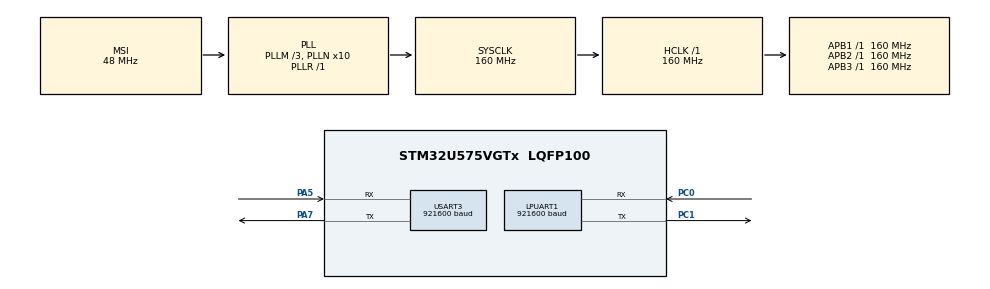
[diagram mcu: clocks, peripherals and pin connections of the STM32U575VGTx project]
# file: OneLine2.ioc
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CORTEX_M33_NS.userName=CORTEX_M33
GPDMA1.CIRCULARMODE_GPDMACH1=ENABLE
GPDMA1.CIRCULARMODE_GPDMACH3=DISABLE
GPDMA1.DESTINC_GPDMACH1=DMA_DINC_INCREMENTED
GPDMA1.DIRECTION_GPDMACH1=DMA_PERIPH_TO_MEMORY
GPDMA1.DIRECTION_GPDMACH3=DMA_MEMORY_TO_PERIPH
GPDMA1.IPHANDLE_GPDMACH1-SIMPLEREQUEST_GPDMACH1=__NULL
GPDMA1.IPHANDLE_GPDMACH3-SIMPLEREQUEST_GPDMACH3=__NULL
GPDMA1.PRIORITY_GPDMACH3=DMA_LOW_PRIORITY_MID_WEIGHT
GPDMA1.PRIORITY_LL_CIRCULAR_GPDMACH1=DMA_LOW_PRIORITY_HIGH_WEIGHT
GPDMA1.REQUEST_GPDMACH1=GPDMA1_REQUEST_USART3_RX
GPDMA1.REQUEST_GPDMACH3=GPDMA1_REQUEST_LPUART1_TX
GPDMA1.SRCINC_GPDMACH3=DMA_SINC_INCREMENTED
LPUART1.BaudRate=921600
Mcu.Family=STM32U5
Mcu.Name=STM32U575VGTx
Mcu.Package=LQFP100
NVIC.GPDMA1_Channel1_IRQn=true\:0\:0\:false\:false\:true\:false\:true\:true
NVIC.GPDMA1_Channel3_IRQn=true\:0\:0\:false\:false\:true\:false\:true\:true
NVIC.LPUART1_IRQn=true\:0\:0\:false\:false\:true\:true\:true\:true
NVIC.PriorityGroup=NVIC_PRIORITYGROUP_4
NVIC.USART3_IRQn=true\:0\:0\:false\:false\:true\:true\:true\:true
PA13\ (JTMS/SWDIO).Mode=Serial_Wire
PA13\ (JTMS/SWDIO).Signal=DEBUG_JTMS-SWDIO
PA14\ (JTCK/SWCLK).Mode=Serial_Wire
PA14\ (JTCK/SWCLK).Signal=DEBUG_JTCK-SWCLK
PA5.Mode=Asynchronous
PA5.Signal=USART3_RX
PA7.Mode=Asynchronous
PA7.Signal=USART3_TX
PC0.Mode=Asynchronous
PC0.Signal=LPUART1_RX
PC1.Mode=Asynchronous
PC1.Signal=LPUART1_TX
PC14-OSC32_IN\ (PC14).Mode=LSE-External-Oscillator
PC14-OSC32_IN\ (PC14).Signal=RCC_OSC32_IN
PC15-OSC32_OUT\ (PC15).Mode=LSE-External-Oscillator
PC15-OSC32_OUT\ (PC15).Signal=RCC_OSC32_OUT
PH0-OSC_IN\ (PH0).Mode=HSE-External-Oscillator
PH0-OSC_IN\ (PH0).Signal=RCC_OSC_IN
PH1-OSC_OUT\ (PH1).Mode=HSE-External-Oscillator
PH1-OSC_OUT\ (PH1).Signal=RCC_OSC_OUT
ProjectManager.HeapSize=0x200
ProjectManager.StackSize=0x400
ProjectManager.TargetToolchain=MDK-ARM V5.39
RCC.ADCFreq_Value=16000000
RCC.AHBFreq_Value=160000000
RCC.APB1Freq_Value=160000000
RCC.APB1TimFreq_Value=160000000
RCC.APB2Freq_Value=160000000
RCC.APB2TimFreq_Value=160000000
RCC.APB3Freq_Value=160000000
RCC.CortexFreq_Value=160000000
RCC.EPOD_VALUE=48000000
RCC.HCLKFreq_Value=160000000
RCC.HSE_VALUE=8000000
RCC.HSI48_VALUE=48000000
RCC.HSI_VALUE=16000000
RCC.LSIDIV_VALUE=32000
RCC.MSIClockRange=RCC_MSIRANGE_0
RCC.MSI_VALUE=48000000
RCC.PLL1R=1
RCC.PLL2Source=RCC_PLLSOURCE_HSE
RCC.PLL3Source=RCC_PLLSOURCE_HSE
RCC.PLLFRACN=0
RCC.PLLM=3
RCC.PLLN=10
RCC.SYSCLKFreq_VALUE=160000000
RCC.SYSCLKSource=RCC_SYSCLKSOURCE_PLLCLK
RCC.USBFreq_Value=48000000
RCC.VCOOutputFreq_Value=160000000
USART3.BaudRate=921600
USART3.FIFOMode=FIFOMODE_DISABLE
USART3.VirtualMode-Asynchronous=VM_ASYNC
VP_GPDMA1_VS_GPDMACH1.Mode=SIMPLEREQUEST_GPDMACH1
VP_GPDMA1_VS_GPDMACH3.Mode=SIMPLEREQUEST_GPDMACH3
VP_LPBAMQUEUE_VS_QUEUE.Mode=QUEUEMODE
VP_LPBAM_VS_SIG1.Mode=SmartRun
VP_LPBAM_VS_SIG4.Mode=LPDMA1
VP_MEMORYMAP_VS_MEMORYMAP.Mode=CurAppReg
VP_PWR_VS_SECSignals.Mode=Security/Privilege
board=custom

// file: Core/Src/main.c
/* USER CODE BEGIN Header */
/**
  ******************************************************************************
  * @file           : main.c
  * @brief          : Main program body
  ******************************************************************************
  * @attention
  *
  * Copyright (c) 2026 STMicroelectronics.
  * All rights reserved.
  *
  * This software is licensed under terms that can be found in the LICENSE file
  * in the root directory of this software component.
  * If no LICENSE file comes with this software, it is provided AS-IS.
  *
  ******************************************************************************
  */
/* USER CODE END Header */
#include "main.h"
#include "gpdma.h"
#include "usart.h"
#include "gpio.h"

/* USER CODE BEGIN Includes */
#include <string.h>
/* USER CODE END Includes */

/* USER CODE BEGIN PD */
/* 1.1s 独立看门狗(直写寄存器,不依赖 HAL IWDG 驱动):收到数据喂狗;1.1s 无数据 -> 硬复位 MCU(=自动按RST)。 */
#define IWDG_REFRESH()  (IWDG->KR = 0x0000AAAAu)
/* USER CODE END PD */

/* USER CODE BEGIN PV */

/* Board 2 bridge (协议网关 / CRC 过滤): USART3_RX --(circular DMA: HT/TC/IDLE)--> 协议解析 --> 512KB
   ring queue --> LPUART1_TX(poll) -> PC. 经典 "DMA(半/全传输中断)+串口空闲中断+环形队列":
     - RX: USART3 用 circular DMA 连续接进 dma_rx_buf;ReceiveToIdle_DMA 正常运行不重装,UART 错误后由主
       循环重建。HAL 在 半满/满/空闲 回调 RxEventCallback(Size=当前写位置),回调把新到字节(环绕处理)
       喂给协议解析器(跨回调保存状态,一个回调 != 一帧)。RX 全程不在 ISR 里调任何 HAL DMA 函数。
     - 解析: 找 SOF 0xAA -> SRC(0x01/0x02) -> LEN(大端,1..1024) -> 收齐 PAYLOAD+CRC8,用与 board1
       完全一致的 CRC-8/ATM 校验。CRC 对 -> 把"完整原始帧"整帧压队列;CRC/SRC/LEN 错 -> 丢弃并重找 0xAA。
       复位噪声/无效数据形不成合法帧,到不了电脑。一帧要么整帧入队、要么整帧丢(无半包)。
     - TX: 主循环轮询 LPUART1 TXE,从队列取字节写 TDR(直写寄存器,无句柄,最稳)。 */
#define DMA_RX_SIZE   1024u          /* USART3 RX circular DMA 硬件缓冲 */
#define TX_QUEUE_SIZE (512u * 1024u) /* 应用环形队列 512KB,用于吸收瞬时突发 */
#define RX_REARM_RETRY_MS 10u        /* 失败后限速重试,避免主循环反复重配 DMA */

/* board1 协议帧: [0xAA][SRC][LEN_H][LEN_L][PAYLOAD...][CRC8]
   SRC: 0x01=LPUART1, 0x02=USART1; LEN 大端 = PAYLOAD 字节数(1..1024);
   CRC-8/ATM(poly 0x07, init 0) 覆盖 SRC、LEN_H、LEN_L 和全部 PAYLOAD。 */
#define FRAME_SOF          0xAAu
#define FRAME_SRC_LP       0x01u
#define FRAME_SRC_U1       0x02u
#define FRAME_HEADER_SIZE  4u                                          /* SOF + SRC + LEN_H + LEN_L */
#define FRAME_MIN_PAYLOAD  1u
#define FRAME_MAX_PAYLOAD  DMA_RX_SIZE                                 /* 1024 */
#define FRAME_MAX_SIZE     (FRAME_HEADER_SIZE + FRAME_MAX_PAYLOAD + 1u)/* +CRC = 1029 */

/* USART3 RX 循环 DMA 缓冲:DMA 硬件写,RxEventCallback 读。32 字节对齐(无害;以后若开 Cache 才有意义)。 */
#if defined(__ICCARM__) || defined(__CC_ARM) || defined(__GNUC__)
__attribute__((aligned(32))) static uint8_t dma_rx_buf[DMA_RX_SIZE];
#else
static uint8_t dma_rx_buf[DMA_RX_SIZE];
#endif
static volatile uint16_t rx_last_pos;          /* 上次已消费到的 dma_rx_buf 位置 */

/* 应用环形队列。生产者:RxEventCallback(ISR)。消费者:tx_kick(主循环)。 */
static uint8_t  txq[TX_QUEUE_SIZE];
static volatile uint32_t txq_head;
static volatile uint32_t txq_tail;
static volatile uint32_t txq_count;

static volatile uint32_t rx_bytes;
static volatile uint32_t tx_bytes;
static volatile uint32_t drop_cnt;
static volatile uint32_t err_cnt;
static volatile uint8_t  rearm_rx;
static volatile uint32_t rearm_rx_cnt;
static volatile uint32_t rearm_rx_fail_cnt;
static uint32_t rearm_rx_last_try;

/* 协议解析器状态(跨 DMA 回调保存)。生产者=RxEventCallback(ISR),单路 USART3,无并发。 */
static uint8_t  frame_buf[FRAME_MAX_SIZE];   /* 正在收集的候选帧(SOF..CRC) */
static uint16_t frame_pos;                   /* 已收集字节数 */
static uint16_t frame_payload_len;           /* 头部解析出的 LEN */
static uint16_t frame_total;                 /* 整帧字节数 = 头(4)+LEN+CRC(1) */
static volatile uint32_t frame_ok_cnt;       /* CRC 通过、已转发的帧数 */
static volatile uint32_t frame_crc_err_cnt;  /* CRC 错丢弃 */
static volatile uint32_t frame_fmt_err_cnt;  /* SRC/LEN/格式错丢弃 */
static volatile uint32_t frame_drop_cnt;     /* 合法帧但队列放不下而整帧丢弃 */
static volatile uint32_t noise_drop_bytes;   /* 帧外噪声字节(复位 0x00 等) */
static volatile uint32_t empty_idle_skip_cnt;    /* 启动/重启空 IDLE 跳过次数(调试) */
static volatile uint32_t parser_rearm_reset_cnt; /* 因 UART 错误恢复而重置解析器的次数(调试) */

/* usart.c 里的 DMA 句柄/节点/队列(在 main 里重配成 circular 并绑定缓冲) */
extern DMA_HandleTypeDef handle_GPDMA1_Channel1;
extern DMA_NodeTypeDef   Node_GPDMA1_Channel1;
extern DMA_QListTypeDef  List_GPDMA1_Channel1;

/* USER CODE END PV */

void SystemClock_Config(void);
/* USER CODE BEGIN PFP */
static HAL_StatusTypeDef rx_dma_circular_start(void);
static uint8_t txq_push(const uint8_t *data, uint16_t len);
static void tx_kick(void);
static uint8_t crc8_update(uint8_t crc, uint8_t value);
static void parser_reset(void);
static void parser_reject(uint8_t value);
static uint8_t parser_handle_byte(uint8_t value);
static void parser_resync(void);
static void parser_feed(const uint8_t *data, uint16_t len);
/* USER CODE END PFP */

int main(void)
{

  /* MCU Configuration--------------------------------------------------------*/

  /* Reset of all peripherals, Initializes the Flash interface and the Systick. */
  HAL_Init();

  /* Configure the system clock */
  SystemClock_Config();

  /* Initialize all configured peripherals */
  MX_GPIO_Init();
  MX_GPDMA1_Init();
  MX_LPUART1_UART_Init();
  MX_USART3_UART_Init();
  /* USER CODE BEGIN 2 */

  /* Board 2: USART3_RX (circular DMA, HT/TC/IDLE) -> 协议解析 -> 512KB queue -> LPUART1_TX (poll).
     Normal reception runs continuously; UART errors are recovered later from the main loop. */
  parser_reset();                         /* clean parser state before the first DMA start */
  if (rx_dma_circular_start() != HAL_OK)
  {
    Error_Handler();
  }

  /* 启动 1.1s 独立看门狗(IWDG):卡死/无流量 1.1s 即硬复位,等效自动按 RST(即便 CPU 卡死也能复位)。
     喂狗在 HAL_UARTEx_RxEventCallback 收到真实数据时进行。 */
  __HAL_DBGMCU_FREEZE_IWDG();           /* 调试 halt 时冻结看门狗 */
  IWDG->KR  = 0x0000CCCCu;              /* 启动 IWDG(自动开 LSI ~32kHz) */
  IWDG->KR  = 0x00005555u;              /* 解锁 PR/RLR */
  IWDG->PR  = 3u;                       /* /32 -> 1 kHz */
  IWDG->RLR = 1099u;                    /* (1099+1)/1000 = 1.1 s */
  while ((IWDG->SR & 0x07u) != 0u) { }  /* 等更新完成 */
  IWDG->KR  = 0x0000AAAAu;              /* 初次喂狗 */

  /* USER CODE END 2 */

  /* Infinite loop */
  while (1)
  {

    /* USER CODE BEGIN 3 */
    if ((rearm_rx != 0u) &&
        ((uint32_t)(HAL_GetTick() - rearm_rx_last_try) >= RX_REARM_RETRY_MS))
    {
      HAL_StatusTypeDef status;

      rearm_rx_last_try = HAL_GetTick();
      rearm_rx = 0u;
      rx_last_pos = 0u;
      parser_reset();                    /* a UART error may have hit mid-frame: drop the partial */
      parser_rearm_reset_cnt++;
      status = rx_dma_circular_start();
      if (status == HAL_OK)
      {
        rearm_rx_cnt++;
      }
      else
      {
        rearm_rx_fail_cnt++;
        rearm_rx = 1u;
      }
    }

    tx_kick();   /* RX is DMA + interrupt-driven; the loop only drains the queue to TX */
  }
  /* USER CODE END 3 */
}

void SystemClock_Config(void)
{
  RCC_OscInitTypeDef RCC_OscInitStruct = {0};
  RCC_ClkInitTypeDef RCC_ClkInitStruct = {0};

  /** Configure the main internal regulator output voltage
  */
  if (HAL_PWREx_ControlVoltageScaling(PWR_REGULATOR_VOLTAGE_SCALE1) != HAL_OK)
  {
    Error_Handler();
  }

  /** Initializes the CPU, AHB and APB buses clocks
  */
  RCC_OscInitStruct.OscillatorType = RCC_OSCILLATORTYPE_MSI;
  RCC_OscInitStruct.MSIState = RCC_MSI_ON;
  RCC_OscInitStruct.MSICalibrationValue = RCC_MSICALIBRATION_DEFAULT;
  RCC_OscInitStruct.MSIClockRange = RCC_MSIRANGE_0;
  RCC_OscInitStruct.PLL.PLLState = RCC_PLL_ON;
  RCC_OscInitStruct.PLL.PLLSource = RCC_PLLSOURCE_MSI;
  RCC_OscInitStruct.PLL.PLLMBOOST = RCC_PLLMBOOST_DIV4;
  RCC_OscInitStruct.PLL.PLLM = 3;
  RCC_OscInitStruct.PLL.PLLN = 10;
  RCC_OscInitStruct.PLL.PLLP = 2;
  RCC_OscInitStruct.PLL.PLLQ = 2;
  RCC_OscInitStruct.PLL.PLLR = 1;
  RCC_OscInitStruct.PLL.PLLRGE = RCC_PLLVCIRANGE_1;
  RCC_OscInitStruct.PLL.PLLFRACN = 0;
  if (HAL_RCC_OscConfig(&RCC_OscInitStruct) != HAL_OK)
  {
    Error_Handler();
  }

  /** Initializes the CPU, AHB and APB buses clocks
  */
  RCC_ClkInitStruct.ClockType = RCC_CLOCKTYPE_HCLK|RCC_CLOCKTYPE_SYSCLK
                              |RCC_CLOCKTYPE_PCLK1|RCC_CLOCKTYPE_PCLK2
                              |RCC_CLOCKTYPE_PCLK3;
  RCC_ClkInitStruct.SYSCLKSource = RCC_SYSCLKSOURCE_PLLCLK;
  RCC_ClkInitStruct.AHBCLKDivider = RCC_SYSCLK_DIV1;
  RCC_ClkInitStruct.APB1CLKDivider = RCC_HCLK_DIV1;
  RCC_ClkInitStruct.APB2CLKDivider = RCC_HCLK_DIV1;
  RCC_ClkInitStruct.APB3CLKDivider = RCC_HCLK_DIV1;

  if (HAL_RCC_ClockConfig(&RCC_ClkInitStruct, FLASH_LATENCY_4) != HAL_OK)
  {
    Error_Handler();
  }
}

/* USER CODE BEGIN 4 */

/* Configure USART3 RX as CIRCULAR DMA into dma_rx_buf and (re)start it. The linked-list node's
   DstAddress/DataSize are bound EXPLICITLY to dma_rx_buf so each wrap reloads the correct dest.
   Abort + DeInit + ResetQ first so this is safe both at boot and when re-arming after a UART error. */
static HAL_StatusTypeDef rx_dma_circular_start(void)
{
  DMA_NodeConfTypeDef nc = {0};

  if (HAL_UART_AbortReceive(&huart3) != HAL_OK) { return HAL_ERROR; }
  if (HAL_DMA_DeInit(&handle_GPDMA1_Channel1) != HAL_OK) { return HAL_ERROR; }
  if (HAL_DMAEx_List_ResetQ(&List_GPDMA1_Channel1) != HAL_OK) { return HAL_ERROR; }

  nc.NodeType                         = DMA_GPDMA_LINEAR_NODE;
  nc.Init.Request                     = GPDMA1_REQUEST_USART3_RX;
  nc.Init.BlkHWRequest                = DMA_BREQ_SINGLE_BURST;
  nc.Init.Direction                   = DMA_PERIPH_TO_MEMORY;
  nc.Init.SrcInc                      = DMA_SINC_FIXED;
  nc.Init.DestInc                     = DMA_DINC_INCREMENTED;
  nc.Init.SrcDataWidth                = DMA_SRC_DATAWIDTH_BYTE;
  nc.Init.DestDataWidth               = DMA_DEST_DATAWIDTH_BYTE;
  nc.Init.SrcBurstLength              = 1;
  nc.Init.DestBurstLength             = 1;
  nc.Init.TransferAllocatedPort       = DMA_SRC_ALLOCATED_PORT0 | DMA_DEST_ALLOCATED_PORT0;
  nc.Init.TransferEventMode           = DMA_TCEM_BLOCK_TRANSFER;
  nc.Init.Mode                        = DMA_NORMAL;   /* circular-ness comes from SetCircularMode */
  nc.TriggerConfig.TriggerPolarity    = DMA_TRIG_POLARITY_MASKED;
  nc.DataHandlingConfig.DataExchange  = DMA_EXCHANGE_NONE;
  nc.DataHandlingConfig.DataAlignment = DMA_DATA_RIGHTALIGN_ZEROPADDED;
  nc.SrcAddress                       = (uint32_t)&USART3->RDR;   /* BIND src = RDR        */
  nc.DstAddress                       = (uint32_t)dma_rx_buf;     /* BIND dst = buffer (FIX)*/
  nc.DataSize                         = DMA_RX_SIZE;              /* BIND length            */

  if (HAL_DMAEx_List_BuildNode(&nc, &Node_GPDMA1_Channel1) != HAL_OK)                          { return HAL_ERROR; }
  if (HAL_DMAEx_List_InsertNode(&List_GPDMA1_Channel1, NULL, &Node_GPDMA1_Channel1) != HAL_OK) { return HAL_ERROR; }
  if (HAL_DMAEx_List_SetCircularMode(&List_GPDMA1_Channel1) != HAL_OK)                         { return HAL_ERROR; }

  handle_GPDMA1_Channel1.Instance                         = GPDMA1_Channel1;
  handle_GPDMA1_Channel1.InitLinkedList.Priority          = DMA_LOW_PRIORITY_HIGH_WEIGHT;
  handle_GPDMA1_Channel1.InitLinkedList.LinkStepMode      = DMA_LSM_FULL_EXECUTION;
  handle_GPDMA1_Channel1.InitLinkedList.LinkAllocatedPort = DMA_LINK_ALLOCATED_PORT0;
  handle_GPDMA1_Channel1.InitLinkedList.TransferEventMode = DMA_TCEM_BLOCK_TRANSFER;
  handle_GPDMA1_Channel1.InitLinkedList.LinkedListMode    = DMA_LINKEDLIST_CIRCULAR;
  if (HAL_DMAEx_List_Init(&handle_GPDMA1_Channel1) != HAL_OK)                                  { return HAL_ERROR; }
  if (HAL_DMAEx_List_LinkQ(&handle_GPDMA1_Channel1, &List_GPDMA1_Channel1) != HAL_OK)          { return HAL_ERROR; }

  __HAL_LINKDMA(&huart3, hdmarx, handle_GPDMA1_Channel1);
  if (HAL_DMA_ConfigChannelAttributes(&handle_GPDMA1_Channel1, DMA_CHANNEL_NPRIV) != HAL_OK)
  {
    return HAL_ERROR;
  }

  rx_last_pos = 0u;
  return HAL_UARTEx_ReceiveToIdle_DMA(&huart3, dma_rx_buf, DMA_RX_SIZE);
}

/* Push a slice into the application ring queue. Whole-or-nothing: if it does not fit, drop ALL of
   it (return 0) so a frame is never half-written. Producer = parser (ISR); consumer = tx_kick. */
static uint8_t txq_push(const uint8_t *data, uint16_t len)
{
  uint32_t space;
  uint32_t first;

  space = TX_QUEUE_SIZE - txq_count;
  if ((uint32_t)len > space)
  {
    drop_cnt += len;
    return 0u;
  }

  if (len != 0u)
  {
    first = TX_QUEUE_SIZE - txq_head;
    if (first > (uint32_t)len)
    {
      first = len;
    }
    memcpy(&txq[txq_head], data, first);
    if ((uint32_t)len > first)
    {
      memcpy(&txq[0], data + first, (uint32_t)len - first);
    }

    txq_head += len;
    if (txq_head >= TX_QUEUE_SIZE)
    {
      txq_head -= TX_QUEUE_SIZE;
    }
    txq_count += len;
  }
  return 1u;
}

/* CRC-8/ATM: poly 0x07, init 0x00, no reflection, no final XOR. MUST match board1 exactly --
   covers SRC, LEN_H, LEN_L and every PAYLOAD byte. */
static uint8_t crc8_update(uint8_t crc, uint8_t value)
{
  uint8_t bit;

  crc ^= value;
  for (bit = 0u; bit < 8u; bit++)
  {
    crc = ((crc & 0x80u) != 0u) ? (uint8_t)((crc << 1u) ^ 0x07u)
                                : (uint8_t)(crc << 1u);
  }
  return crc;
}

static void parser_reset(void)
{
  frame_pos = 0u;
  frame_payload_len = 0u;
  frame_total = 0u;
}

/* Reject the current candidate. If the offending byte is itself a SOF, reuse it as the start of
   the next frame so data arriving right after garbage re-syncs immediately. */
static void parser_reject(uint8_t value)
{
  frame_fmt_err_cnt++;
  parser_reset();
  if (value == FRAME_SOF)
  {
    frame_buf[0] = value;
    frame_pos = 1u;
  }
}

/* Process ONE received byte through the frame state machine. Returns 1 iff a complete frame just
   FAILED CRC and the caller should resync; returns 0 otherwise. Never recurses. */
static uint8_t parser_handle_byte(uint8_t value)
{
  if (frame_pos == 0u)                           /* hunting for SOF */
  {
    if (value == FRAME_SOF)
    {
      frame_buf[0] = value;
      frame_pos = 1u;
    }
    else
    {
      noise_drop_bytes++;
    }
    return 0u;
  }

  if (frame_pos == 1u)                           /* SRC: only 0x01 / 0x02 */
  {
    if ((value == FRAME_SRC_LP) || (value == FRAME_SRC_U1))
    {
      frame_buf[1] = value;
      frame_pos = 2u;
    }
    else
    {
      parser_reject(value);                      /* SRC error -> fast single-byte resync */
    }
    return 0u;
  }

  if (frame_pos == 2u)                           /* LEN_H */
  {
    frame_buf[2] = value;
    frame_pos = 3u;
    return 0u;
  }

  if (frame_pos == 3u)                           /* LEN_L -> validate length, fix total */
  {
    frame_buf[3] = value;
    frame_payload_len = (uint16_t)(((uint16_t)frame_buf[2] << 8) | (uint16_t)value);
    if ((frame_payload_len < FRAME_MIN_PAYLOAD) || (frame_payload_len > FRAME_MAX_PAYLOAD))
    {
      parser_reject(value);                      /* LEN out of range -> fast resync */
      return 0u;
    }
    frame_total = (uint16_t)(FRAME_HEADER_SIZE + frame_payload_len + 1u);
    frame_pos = 4u;
    return 0u;
  }

  /* collecting PAYLOAD followed by the 1-byte CRC */
  frame_buf[frame_pos] = value;
  frame_pos++;
  if (frame_pos >= frame_total)                  /* frame complete -> verify CRC */
  {
    uint8_t crc = 0u;
    uint16_t i;

    crc = crc8_update(crc, frame_buf[1]);        /* SRC   */
    crc = crc8_update(crc, frame_buf[2]);        /* LEN_H */
    crc = crc8_update(crc, frame_buf[3]);        /* LEN_L */
    for (i = 0u; i < frame_payload_len; i++)
    {
      crc = crc8_update(crc, frame_buf[FRAME_HEADER_SIZE + i]);
    }

    if (crc == frame_buf[frame_total - 1u])
    {
      if (txq_push(frame_buf, frame_total) != 0u)   /* whole frame, or dropped whole */
      {
        frame_ok_cnt++;
      }
      else
      {
        frame_drop_cnt++;
      }
      parser_reset();
      return 0u;
    }

    /* CRC error: leave frame_buf intact (frame_pos == frame_total) so the caller can resync. */
    frame_crc_err_cnt++;
    return 1u;
  }
  return 0u;
}

/* CRC-error recovery: a bad CRC may have swallowed a real frame that started INSIDE the candidate.
   Find the next SOF after the false leading SOF and re-feed from there. Fully iterative + bounded
   (carry is strictly shorter), and a nested CRC failure during the re-feed just resets -- no recursion. */
static void parser_resync(void)
{
  static uint8_t carry[FRAME_MAX_SIZE];   /* ISR-only, single producer -> safe to reuse */
  uint16_t total = frame_total;           /* frame_pos == frame_total on a CRC failure */
  uint16_t k = 1u;
  uint16_t carry_len;
  uint16_t c;

  while ((k < total) && (frame_buf[k] != FRAME_SOF))
  {
    k++;
  }
  if (k >= total)                          /* no embedded SOF -> whole candidate is noise */
  {
    noise_drop_bytes += total;
    parser_reset();
    return;
  }

  carry_len = (uint16_t)(total - k);
  memcpy(carry, &frame_buf[k], carry_len);
  noise_drop_bytes += k;                    /* discarded prefix [0 .. k-1] */
  parser_reset();

  for (c = 0u; c < carry_len; c++)
  {
    if (parser_handle_byte(carry[c]) != 0u)  /* nested CRC failure -> drop & keep scanning */
    {
      noise_drop_bytes += frame_total;
      parser_reset();
    }
  }
}

/* Feed RX bytes (one wrap segment) through the parser. A CRC failure triggers an in-candidate
   resync; a complete CRC-valid frame is pushed whole (txq_push). Bad SRC/LEN/CRC frames and
   inter-frame noise (reset 0x00 bursts, glitches) never reach the PC. */
static void parser_feed(const uint8_t *data, uint16_t len)
{
  uint16_t n;

  for (n = 0u; n < len; n++)
  {
    if (parser_handle_byte(data[n]) != 0u)
    {
      parser_resync();
    }
  }
}

/* RX event from circular DMA. Fires at half-transfer, transfer-complete and UART idle. Feed the
   bytes received since the last position (wrap-aware) into the frame parser. Position uses HAL's
   Size directly (clamped). A full-buffer TC keeps last == DMA_RX_SIZE so the spurious follow-up
   IDLE that re-reports Size == DMA_RX_SIZE is de-duplicated by pos == last. The empty startup/restart
   IDLE (event==IDLE, Size==full, last==0, counter==full) is skipped so the zeroed buffer is not
   scanned/forwarded. No HAL DMA call here. */
void HAL_UARTEx_RxEventCallback(UART_HandleTypeDef *huart, uint16_t Size)
{
  if (huart == &huart3)
  {
    uint16_t pos;
    uint16_t last;

    if ((HAL_UARTEx_GetRxEventType(huart) == HAL_UART_RXEVENT_IDLE) && (Size == DMA_RX_SIZE) &&
        (rx_last_pos == 0u) &&
        ((uint16_t)__HAL_DMA_GET_COUNTER(huart->hdmarx) == DMA_RX_SIZE))
    {
      empty_idle_skip_cnt++;
      return;
    }

    IWDG_REFRESH();   /* 收到真实数据 -> 喂狗(1.1s 内没数据则硬复位) */

    pos  = (Size > DMA_RX_SIZE) ? DMA_RX_SIZE : Size;   /* clamp: never index OOB */
    last = rx_last_pos;

    if (pos != last)
    {
      if (pos > last)                            /* contiguous: buf[last .. pos-1] */
      {
        rx_bytes += (uint32_t)(pos - last);
        parser_feed(&dma_rx_buf[last], (uint16_t)(pos - last));
      }
      else                                       /* wrapped: buf[last..end] then buf[0..pos-1] */
      {
        uint16_t tail = (uint16_t)(DMA_RX_SIZE - last);   /* 0 when last == DMA_RX_SIZE */

        rx_bytes += (uint32_t)tail + (uint32_t)pos;
        if (tail != 0u)
        {
          parser_feed(&dma_rx_buf[last], tail);
        }
        if (pos != 0u)
        {
          parser_feed(&dma_rx_buf[0], pos);
        }
      }
      rx_last_pos = pos;   /* keep pos as-is; do NOT collapse DMA_RX_SIZE -> 0 */
    }
  }
}

/* HAL aborts DMA reception after a UART error. Flag the path for re-arm in the main loop so the
   callback stays short and never reconfigures DMA from interrupt context. */
void HAL_UART_ErrorCallback(UART_HandleTypeDef *huart)
{
  if (huart == &huart3)
  {
    err_cnt++;
    rearm_rx = 1u;
  }
}

/* Drain the queue to LPUART1 by writing TDR directly while TXE is set. Non-blocking, handle-free. */
static void tx_kick(void)
{
  uint32_t primask;

  while (((LPUART1->ISR & USART_ISR_TXE_TXFNF) != 0u) && (txq_count != 0u))
  {
    LPUART1->TDR = txq[txq_tail];
    txq_tail++;
    if (txq_tail >= TX_QUEUE_SIZE)
    {
      txq_tail = 0u;
    }
    primask = __get_PRIMASK();
    __disable_irq();
    txq_count--;
    __set_PRIMASK(primask);
    tx_bytes++;
  }
}

/* USER CODE END 4 */

void Error_Handler(void)
{
  __disable_irq();
  while (1)
  {
  }
}
